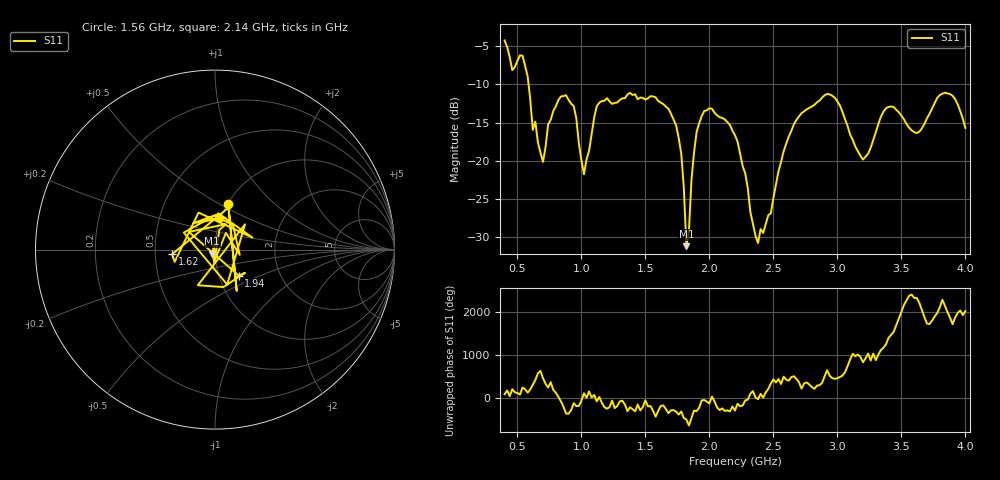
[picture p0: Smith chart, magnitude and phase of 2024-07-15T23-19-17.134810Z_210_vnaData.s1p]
!Created with skrf (http://scikit-rf.org).
# Hz S RI R 50.0
!freq ReS11 ImS11
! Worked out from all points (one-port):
!   181 points, 400 MHz to 4 GHz, reference 50 ohm
!   lowest |S11| = -31.2 dB at 1.82 GHz (marker M1), VSWR 1.06, Z = 48.4 - j2.18 ohm
!   |S11| at or under -10 dB: 587.1 MHz to end of sweep
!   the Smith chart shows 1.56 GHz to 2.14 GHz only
!   S11 on the Smith chart (normalised r, x): 1.56 GHz: 1.01, +0.55; 1.62 GHz: 0.61, -0.03; 1.94 GHz: 1.24, -0.37; 2.14 GHz: 0.98, +0.36
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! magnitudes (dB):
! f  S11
! 400 MHz  -4.3
! 460 MHz  -8.1
! 540 MHz  -6.3
! 620 MHz  -16.0
! 700 MHz  -20.1
! 860 MHz  -11.5
! 940 MHz  -12.8
! 1.02 GHz  -21.8
! 1.12 GHz  -12.9
! 1.3 GHz  -12.1
! 1.56 GHz  -11.6
! 1.62 GHz  -12.4
! 1.76 GHz  -17.0
! 1.8 GHz  -23.5
! 1.82 GHz  -31.2
! 1.88 GHz  -18.9
! 1.94 GHz  -14.2
! 2.14 GHz  -15.0
! 2.2 GHz  -16.7
! 2.38 GHz  -30.8
! 2.66 GHz  -15.2
! 2.92 GHz  -11.3
! 3.1 GHz  -16.6
! 3.2 GHz  -19.8
! 3.38 GHz  -13.1
! 3.56 GHz  -15.7
! 3.84 GHz  -11.1
! 4 GHz  -15.7
